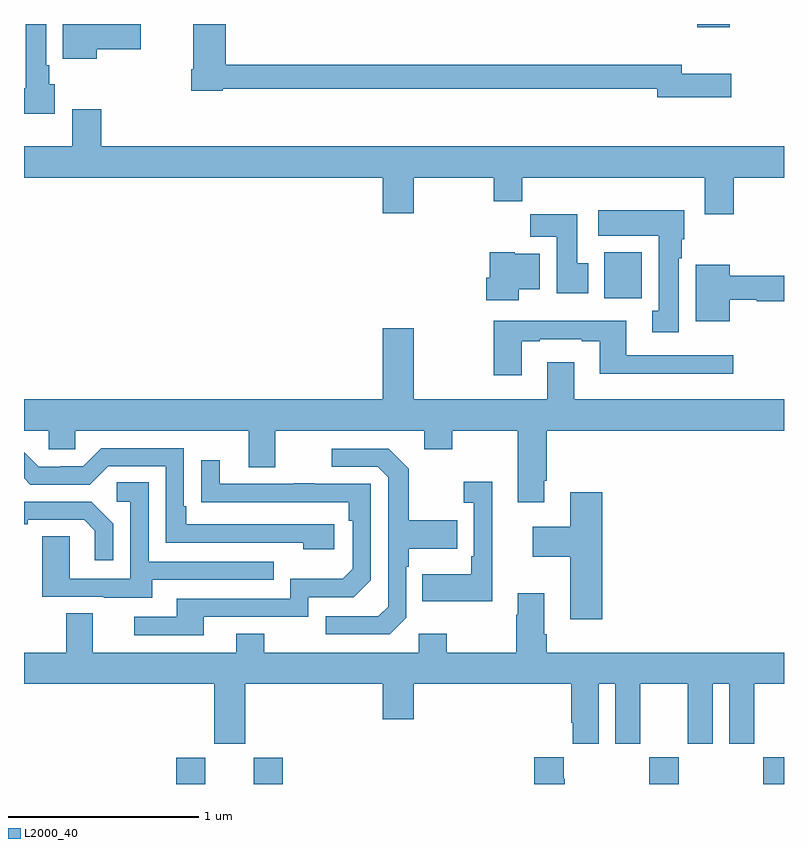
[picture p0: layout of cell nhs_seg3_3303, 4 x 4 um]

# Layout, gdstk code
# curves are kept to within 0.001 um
import gdstk
lib = gdstk.Library(unit=1e-6, precision=1e-09)
def R(c, l, rs):  # rectangles x0, y0, x1, y1
    for r in rs: c.add(gdstk.rectangle(r[:2], r[2:], *l))
def P(c, l, *ps):  # polygons
    for p in ps: c.add(gdstk.Polygon(p, *l))
L2000_40 = (2000, 40)

nhs_seg3_3303 = lib.new_cell('nhs_seg3_3303')
R(nhs_seg3_3303, L2000_40, [(283.802,688.4,283.954,688.539), (284.21,688.4,284.363,688.539), (286.291,688.4,286.446,688.54), (286.891,688.4,287,688.54), (286.055,690.956,286.252,691.198), (286.544,692.382,286.714,692.4)])
P(nhs_seg3_3303, L2000_40, [(286.723,692.137),(286.462,692.137),(286.462,692.186),(284.063,692.186),(284.063,692.4),(283.892,692.4),(283.892,692.161),(283.88,692.161),(283.88,692.05),(284.046,692.05),(284.046,692.058),(286.334,692.058),(286.334,692.015),(286.723,692.015)],
  [(283.162,692.082),(283.132,692.082),(283.132,692.182),(283.117,692.182),(283.117,692.4),(283.01,692.4),(283.01,692.062),(283,692.062),(283,691.928),(283.162,691.928)],
  [(283.384,692.267),(283.615,692.267),(283.615,692.4),(283.205,692.4),(283.205,692.216),(283.384,692.216)],
  [(286.736,691.592),(287,691.592),(287,691.756),(283.406,691.756),(283.406,691.951),(283.253,691.951),(283.253,691.756),(283,691.756),(283,691.592),(284.888,691.592),(284.888,691.404),(285.052,691.404),(285.052,691.592),(285.472,691.592),(285.472,691.468),(285.623,691.468),(285.623,691.592),(286.583,691.592),(286.583,691.398),(286.736,691.398)],
  [(286.447,691.166),(286.462,691.166),(286.462,691.266),(286.474,691.266),(286.474,691.42),(286.023,691.42),(286.023,691.286),(286.34,691.286),(286.34,690.89),(286.307,690.89),(286.307,690.777),(286.447,690.777)],
  [(285.97,691.14),(285.913,691.14),(285.913,691.399),(285.664,691.399),(285.664,691.28),(285.803,691.28),(285.803,690.984),(285.97,690.984)],
  [(285.604,691.004),(285.715,691.004),(285.715,691.192),(285.582,691.192),(285.582,691.198),(285.452,691.198),(285.452,691.065),(285.434,691.065),(285.434,690.947),(285.604,690.947)],
  [(286.714,690.948),(286.857,690.948),(286.857,690.94),(287,690.94),(287,691.076),(286.714,691.076),(286.714,691.132),(286.535,691.132),(286.535,690.836),(286.714,690.836)],
  [(285.619,690.729),(285.715,690.729),(285.715,690.741),(285.935,690.741),(285.935,690.729),(286.031,690.729),(286.031,690.56),(286.732,690.56),(286.732,690.657),(286.171,690.657),(286.171,690.838),(285.472,690.838),(285.472,690.552),(285.619,690.552)],
  [(285.739,689.995),(285.752,689.995),(285.752,690.26),(287,690.26),(287,690.424),(285.895,690.424),(285.895,690.619),(285.755,690.619),(285.755,690.424),(285.052,690.424),(285.052,690.799),(284.888,690.799),(284.888,690.424),(283,690.424),(283,690.26),(283.131,690.26),(283.131,690.162),(283.269,690.162),(283.269,690.26),(284.183,690.26),(284.183,690.066),(284.323,690.066),(284.323,690.26),(285.107,690.26),(285.107,690.161),(285.255,690.161),(285.255,690.26),(285.599,690.26),(285.599,689.883),(285.739,689.883)],
  [(284.632,689.766),(283.855,689.766),(283.855,689.863),(283.842,689.863),(283.842,690.168),(283.407,690.168),(283.311,690.072),(283.193,690.072),(283.193,690.069),(283.077,690.069),(283,690.146),(283,690.008),(283.032,689.976),(283.347,689.976),(283.443,690.072),(283.746,690.072),(283.746,689.67),(284.471,689.67),(284.471,689.636),(284.632,689.636)],
  [(285.012,689.274),(285.012,689.543),(285.025,689.543),(285.025,689.639),(285.281,689.639),(285.281,689.787),(285.025,689.787),(285.025,690.059),(284.919,690.165),(284.619,690.165),(284.619,690.069),(284.862,690.069),(284.916,690.015),(284.916,689.334),(284.865,689.283),(284.589,689.283),(284.589,689.187),(284.925,689.187)],
  [(283.945,689.28),(284.496,689.28),(284.496,689.382),(284.736,689.382),(284.826,689.472),(284.826,689.979),(284.531,689.979),(284.531,689.984),(284.419,689.984),(284.419,689.979),(284.029,689.979),(284.029,690.103),(283.933,690.103),(283.933,689.884),(284.71,689.883),(284.71,689.786),(284.73,689.786),(284.73,689.532),(284.677,689.479),(284.4,689.479),(284.4,689.376),(283.805,689.376),(283.805,689.28),(283.581,689.28),(283.581,689.184),(283.945,689.184)],
  [(285.464,689.992),(285.315,689.992),(285.315,689.879),(285.366,689.879),(285.366,689.599),(285.354,689.599),(285.354,689.503),(285.097,689.503),(285.097,689.363),(285.464,689.363)],
  [(283.675,689.475),(284.315,689.475),(284.315,689.571),(283.656,689.571),(283.656,689.987),(283.488,689.987),(283.488,689.886),(283.56,689.886),(283.56,689.481),(283.242,689.481),(283.242,689.705),(283.097,689.705),(283.097,689.385),(283.421,689.385),(283.421,689.381),(283.675,689.381)],
  [(286.043,689.935),(285.875,689.935),(285.875,689.755),(285.678,689.755),(285.678,689.597),(285.875,689.597),(285.875,689.268),(286.043,689.268)],
  [(283.47,689.77),(283.354,689.886),(283,689.886),(283,689.768),(283.021,689.768),(283.021,689.79),(283.316,689.79),(283.373,689.733),(283.373,689.577),(283.47,689.577)],
  [(284.164,688.928),(284.888,688.928),(284.888,688.74),(285.052,688.74),(285.052,688.928),(285.881,688.928),(285.881,688.723),(285.887,688.723),(285.887,688.611),(286.024,688.611),(286.024,688.928),(286.112,688.928),(286.112,688.611),(286.243,688.611),(286.243,688.928),(286.493,688.928),(286.493,688.611),(286.624,688.611),(286.624,688.928),(286.712,688.928),(286.712,688.611),(286.843,688.611),(286.843,688.928),(287,688.928),(287,689.092),(285.752,689.092),(285.752,689.188),(285.739,689.188),(285.739,689.404),(285.599,689.404),(285.599,689.291),(285.592,689.291),(285.592,689.092),(285.225,689.092),(285.225,689.191),(285.078,689.191),(285.078,689.092),(284.265,689.092),(284.265,689.191),(284.117,689.191),(284.117,689.092),(283.363,689.092),(283.363,689.3),(283.223,689.3),(283.223,689.092),(283,689.092),(283,688.928),(284,688.928),(284,688.611),(284.164,688.611)],
  [(285.846,688.427),(285.841,688.427),(285.841,688.54),(285.686,688.54),(285.686,688.4),(285.846,688.4)])

lib.write_gds('nhs_seg3_3303.gds')
